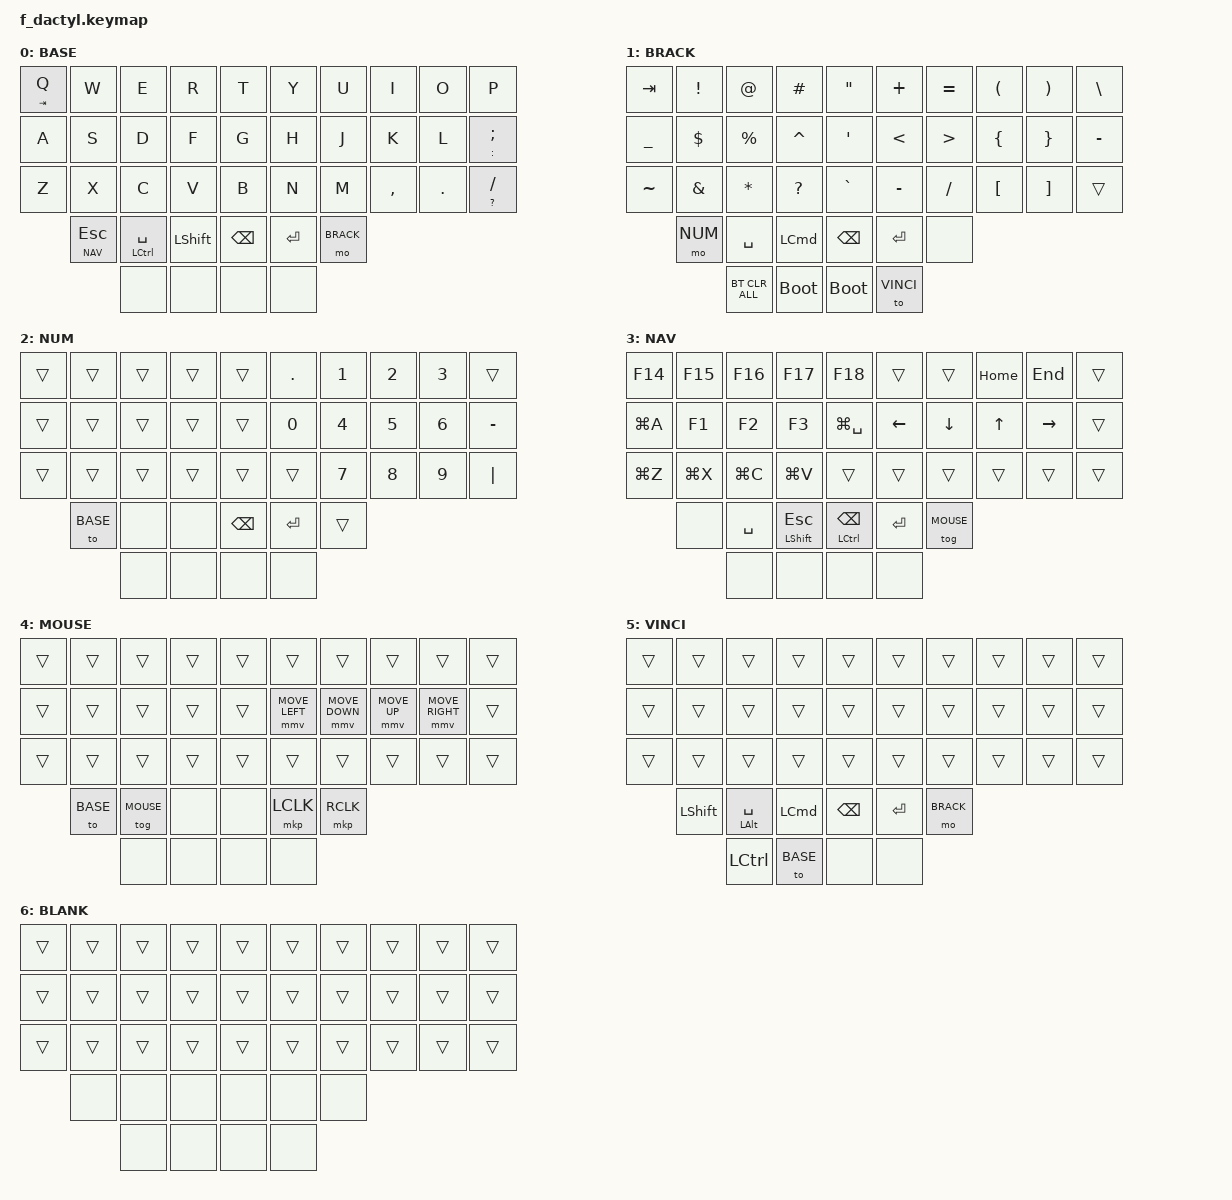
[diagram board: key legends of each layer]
#include <behaviors.dtsi>
#include <dt-bindings/zmk/keys.h>
#include <dt-bindings/zmk/pointing.h>
#include <dt-bindings/zmk/bt.h>
#include <dt-bindings/zmk/mouse.h>

#define BASE  0
#define BRACK 1
#define NUM   2
#define NAV   3
#define MOUSE 4
#define VINCI 5

/ {
  combos {
        compatible = "zmk,combos";
        combo_esc {
            timeout-ms = <50>;
            key-positions = <12 30>;
            bindings = <&kp LC(J)>;
        };
    };
      keymap {
        compatible = "zmk,keymap";

        default_layer {
            label = "BASE";
            bindings = <
                &mt TAB Q          &kp W           &kp E           &kp R           &kp T           &kp Y           &kp U           &kp I           &kp O           &kp P

                &kp A              &kp S           &kp D           &kp F           &kp G           &kp H           &kp J           &kp K           &kp L           &mt COLON SEMI

                &kp Z              &kp X           &kp C           &kp V           &kp B           &kp N           &kp M           &kp COMMA       &kp DOT         &mt QMARK SLASH

                                   &lt NAV ESC     &mt LCTRL SPACE &kp LSHIFT      &kp BACKSPACE   &kp RETURN      &mo BRACK

                                                   &none           &none           &none           &none
            >;
        };

        symbols {
            label = "BRACK";
            bindings = <
                &kp TAB            &kp EXCL        &kp AT          &kp HASH        &kp DOUBLE_QUOTES  &kp PLUS       &kp EQUAL      &kp LEFT_PARENTHESIS  &kp RIGHT_PARENTHESIS  &kp BACKSLASH

                &kp UNDERSCORE     &kp DOLLAR      &kp PERCENT     &kp CARET       &kp SINGLE_QUOTE   &kp LESS_THAN  &kp GREATER_THAN &kp LEFT_BRACE      &kp RIGHT_BRACE       &kp MINUS

                &kp TILDE          &kp AMPS        &kp STAR        &kp QMARK       &kp GRAVE          &kp MINUS      &kp SLASH      &kp LEFT_BRACKET     &kp RIGHT_BRACKET     &trans

                                   &mo NUM       &kp SPACE       &kp LCMD        &kp BACKSPACE      &kp RETURN     &none

                                                   &bt BT_CLR_ALL  &bootloader     &bootloader     &to VINCI
            >;
        };

        numbers {
            label = "NUM";
            bindings = <
                &trans             &trans          &trans          &trans          &trans          &kp DOT        &kp N1         &kp N2         &kp N3         &trans

                &trans             &trans          &trans          &trans          &trans          &kp N0         &kp N4         &kp N5         &kp N6         &kp MINUS

                &trans             &trans          &trans          &trans          &trans          &trans         &kp N7         &kp N8         &kp N9         &kp PIPE

                                   &to BASE        &none           &none           &kp BACKSPACE   &kp RETURN     &trans

                                                   &none           &none           &none           &none
            >;
        };

        navigation {
            label = "NAV";
            bindings = <
                &kp F14            &kp F15         &kp F16         &kp F17         &kp F18         &trans         &trans         &kp HOME       &kp END        &trans

                &kp LG(A)          &kp F1          &kp F2          &kp F3          &kp LG(SPACE)   &kp LEFT       &kp DOWN       &kp UP         &kp RIGHT      &trans

                &kp LG(Z)          &kp LG(X)       &kp LG(C)       &kp LG(V)       &trans          &trans         &trans         &trans         &trans         &trans

                                   &none           &kp SPACE       &mt LSHIFT ESC  &mt LCTRL BSPC  &kp RETURN  &tog MOUSE

                                                   &none           &none           &none           &none
            >;
        };

        mouse {
            label = "MOUSE";
            bindings = <
                &trans             &trans          &trans          &trans          &trans          &trans         &trans         &trans         &trans         &trans

                &trans             &trans          &trans          &trans          &trans          &mmv MOVE_LEFT &mmv MOVE_DOWN &mmv MOVE_UP   &mmv MOVE_RIGHT &trans

                &trans             &trans          &trans          &trans          &trans          &trans         &trans         &trans         &trans         &trans

                                   &to BASE        &tog MOUSE      &none           &none           &mkp LCLK      &mkp RCLK

                                                   &none           &none           &none           &none
            >;
        };

        davinci {
            label = "VINCI";
            bindings = <
                &trans             &trans          &trans          &trans          &trans          &trans         &trans         &trans         &trans         &trans

                &trans             &trans          &trans          &trans          &trans          &trans         &trans         &trans         &trans         &trans

                &trans             &trans          &trans          &trans          &trans          &trans         &trans         &trans         &trans         &trans

                                   &kp LSHIFT      &mt LALT SPACE  &kp LCMD        &kp BACKSPACE   &kp RETURN     &mo BRACK

                                                   &kp LCTRL       &to BASE        &none     &none
            >;
        };

        blank {
            label = "BLANK";
            bindings = <
                &trans             &trans          &trans          &trans          &trans          &trans         &trans         &trans         &trans         &trans

                &trans             &trans          &trans          &trans          &trans          &trans         &trans         &trans         &trans         &trans

                &trans             &trans          &trans          &trans          &trans          &trans         &trans         &trans         &trans         &trans

                                   &none           &none           &none           &none           &none          &none

                                                   &none           &none           &none           &none
            >;
        };
    };
};
